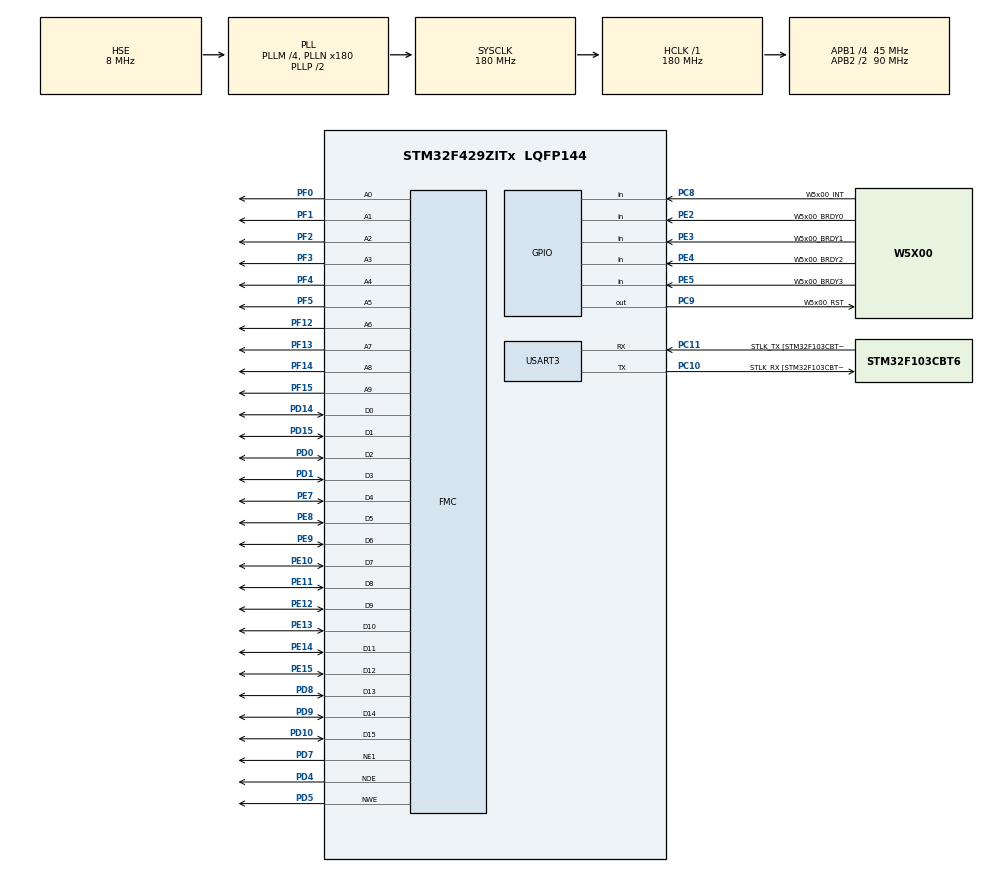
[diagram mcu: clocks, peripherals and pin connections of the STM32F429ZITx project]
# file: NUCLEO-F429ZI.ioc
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FMC.WriteOperation1=FMC_WRITE_OPERATION_ENABLE
Mcu.Family=STM32F4
Mcu.Name=STM32F429ZITx
Mcu.Package=LQFP144
NVIC.PriorityGroup=NVIC_PRIORITYGROUP_4
PA13.GPIO_Label=TMS
PA13.Mode=Serial_Wire
PA13.Signal=SYS_JTMS-SWDIO
PA14.GPIO_Label=TCK
PA14.Mode=Serial_Wire
PA14.Signal=SYS_JTCK-SWCLK
PC10.GPIO_Label=STLK_RX [STM32F103CBT6_PA3]
PC10.Mode=Asynchronous
PC10.Signal=USART3_TX
PC11.GPIO_Label=STLK_TX [STM32F103CBT6_PA2]
PC11.Mode=Asynchronous
PC11.Signal=USART3_RX
PC14/OSC32_IN.Mode=LSE-External-Oscillator
PC14/OSC32_IN.Signal=RCC_OSC32_IN
PC15/OSC32_OUT.Mode=LSE-External-Oscillator
PC15/OSC32_OUT.Signal=RCC_OSC32_OUT
PC8.GPIO_Label=W5x00_INT
PC8.Signal=GPIO_Input
PC9.GPIO_Label=W5x00_RST
PC9.GPIO_PuPd=GPIO_PULLUP
PC9.PinState=GPIO_PIN_SET
PC9.Signal=GPIO_Output
PD0.Signal=FMC_D2_DA2
PD1.Signal=FMC_D3_DA3
PD10.Signal=FMC_D15_DA15
PD14.Signal=FMC_D0_DA0
PD15.Signal=FMC_D1_DA1
PD4.Signal=FMC_NOE
PD5.Signal=FMC_NWE
PD7.Mode=NorPsramChipSelect1_1
PD7.Signal=FMC_NE1
PD8.Signal=FMC_D13_DA13
PD9.Signal=FMC_D14_DA14
PE10.Signal=FMC_D7_DA7
PE11.Signal=FMC_D8_DA8
PE12.Signal=FMC_D9_DA9
PE13.Signal=FMC_D10_DA10
PE14.Signal=FMC_D11_DA11
PE15.Signal=FMC_D12_DA12
PE2.GPIO_Label=W5x00_BRDY0
PE2.Signal=GPIO_Input
PE3.GPIO_Label=W5x00_BRDY1
PE3.Signal=GPIO_Input
PE4.GPIO_Label=W5x00_BRDY2
PE4.Signal=GPIO_Input
PE5.GPIO_Label=W5x00_BRDY3
PE5.Signal=GPIO_Input
PE7.Signal=FMC_D4_DA4
PE8.Signal=FMC_D5_DA5
PE9.Signal=FMC_D6_DA6
PF0.Signal=FMC_A0
PF1.Signal=FMC_A1
PF12.Signal=FMC_A6
PF13.Signal=FMC_A7
PF14.Signal=FMC_A8
PF15.Signal=FMC_A9
PF2.Signal=FMC_A2
PF3.Signal=FMC_A3
PF4.Signal=FMC_A4
PF5.Signal=FMC_A5
PH0/OSC_IN.GPIO_Label=MCO [STM32F103CBT6_PA8]
PH0/OSC_IN.Mode=HSE-External-Clock-Source
PH0/OSC_IN.Signal=RCC_OSC_IN
PH1/OSC_OUT.Mode=HSE-External-Clock-Source
PH1/OSC_OUT.Signal=RCC_OSC_OUT
ProjectManager.HeapSize=0x10000
ProjectManager.StackSize=0x8000
ProjectManager.TargetToolchain=STM32CubeIDE
RCC.48MHZClocksFreq_Value=51428571.428571425
RCC.AHBFreq_Value=180000000
RCC.APB1CLKDivider=RCC_HCLK_DIV4
RCC.APB1Freq_Value=45000000
RCC.APB1TimFreq_Value=90000000
RCC.APB2CLKDivider=RCC_HCLK_DIV2
RCC.APB2Freq_Value=90000000
RCC.APB2TimFreq_Value=180000000
RCC.CortexFreq_Value=180000000
RCC.HCLKFreq_Value=180000000
RCC.HSE_VALUE=8000000
RCC.HSI_VALUE=16000000
RCC.PLLM=4
RCC.PLLMUL=RCC_PLL_MUL9
RCC.PLLN=180
RCC.PLLQ=7
RCC.PLLSourceVirtual=RCC_PLLSOURCE_HSE
RCC.PRESCALERUSB=RCC_USBCLKSOURCE_PLL_DIV1_5
RCC.SYSCLKFreq_VALUE=180000000
RCC.SYSCLKSource=RCC_SYSCLKSOURCE_PLLCLK
RCC.SYSCLKSourceVirtual=RCC_SYSCLKSOURCE_PLLCLK
RCC.USBFreq_Value=48000000
RCC.VCOOutputFreq_Value=360000000
SH.FMC_A0.0=FMC_A0,10b-a1
SH.FMC_A1.0=FMC_A1,10b-a1
SH.FMC_A2.0=FMC_A2,10b-a1
SH.FMC_A3.0=FMC_A3,10b-a1
SH.FMC_A4.0=FMC_A4,10b-a1
SH.FMC_A5.0=FMC_A5,10b-a1
SH.FMC_A6.0=FMC_A6,10b-a1
SH.FMC_A7.0=FMC_A7,10b-a1
SH.FMC_A8.0=FMC_A8,10b-a1
SH.FMC_A9.0=FMC_A9,10b-a1
SH.FMC_D0_DA0.0=FMC_D0,16b-d1
SH.FMC_D10_DA10.0=FMC_D10,16b-d1
SH.FMC_D11_DA11.0=FMC_D11,16b-d1
SH.FMC_D12_DA12.0=FMC_D12,16b-d1
SH.FMC_D13_DA13.0=FMC_D13,16b-d1
SH.FMC_D14_DA14.0=FMC_D14,16b-d1
SH.FMC_D15_DA15.0=FMC_D15,16b-d1
SH.FMC_D1_DA1.0=FMC_D1,16b-d1
SH.FMC_D2_DA2.0=FMC_D2,16b-d1
SH.FMC_D3_DA3.0=FMC_D3,16b-d1
SH.FMC_D4_DA4.0=FMC_D4,16b-d1
SH.FMC_D5_DA5.0=FMC_D5,16b-d1
SH.FMC_D6_DA6.0=FMC_D6,16b-d1
SH.FMC_D7_DA7.0=FMC_D7,16b-d1
SH.FMC_D8_DA8.0=FMC_D8,16b-d1
SH.FMC_D9_DA9.0=FMC_D9,16b-d1
SH.FMC_NOE.0=FMC_NOE,Sram1
SH.FMC_NWE.0=FMC_NWE,Sram1
USART3.VirtualMode=VM_ASYNC
board=NUCLEO-F429ZI

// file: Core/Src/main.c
/* USER CODE BEGIN Header */
/**
  ******************************************************************************
  * @file           : main.c
  * @brief          : Main program body
  ******************************************************************************
  * @attention
  *
  * Copyright (c) 2023 STMicroelectronics.
  * All rights reserved.
  *
  * This software is licensed under terms that can be found in the LICENSE file
  * in the root directory of this software component.
  * If no LICENSE file comes with this software, it is provided AS-IS.
  *
  ******************************************************************************
  */
/* USER CODE END Header */
#include "main.h"

/* USER CODE BEGIN Includes */
#include <stdio.h>
#include "socket.h"
#include "wizchip_conf.h"
#include "w5x00_network.h"
/* USER CODE END Includes */

/* USER CODE BEGIN PD */
#define FWUP_SOCKET 0
#define FWUP_PORT   5000

#define DATA_BUF_SIZE 2048
#define APPLICATION_ADDR 0x08020000 //FLASH_SECTOR_5
#define DATA_END_TIME 3000 //3 sec
/* USER CODE END PD */

/* USER CODE BEGIN PM */
#ifdef __GNUC__
/* With GCC/RAISONANCE, small printf (option LD Linker->Libraries->Small printf set to 'Yes') calls __io_putchar() */
#define PUTCHAR_PROTOTYPE int __io_putchar(int ch)
#else
#define PUTCHAR_PROTOTYPE int fputc(int ch, FILE *f)
#endif /* __GNUC__ */
/* USER CODE END PM */

UART_HandleTypeDef huart3;

SRAM_HandleTypeDef hsram1;

/* USER CODE BEGIN PV */
wiz_NetInfo net_info =
  {
      .mac = {0x00, 0x08, 0xDC, 0x12, 0x34, 0x56}, // MAC address
      .ip = {192, 168, 2, 100},                     // IP address
      .sn = {255, 255, 255, 0},                    // Subnet Mask
      .gw = {192, 168, 2, 1},                     // Gateway
      .dns = {8, 8, 8, 8},                         // DNS server
#ifdef APP_DHCP
      .dhcp = NETINFO_DHCP                         // Dynamic IP
#else
      .dhcp = NETINFO_STATIC                       // Static IP
#endif
  };
uint8_t g_eth_buf[DATA_BUF_SIZE];

/* USER CODE END PV */

void SystemClock_Config(void);
static void MX_GPIO_Init(void);
static void MX_USART3_UART_Init(void);
static void MX_FMC_Init(void);
/* USER CODE BEGIN PFP */
/**
 * @brief  Retargets the C library printf function to the USART.
 * @param  None
 * @retval None
 */
PUTCHAR_PROTOTYPE
{
  /* Place your implementation of fputc here */
  /* e.g. write a character to the USART3 and Loop until the end of transmission */
  HAL_UART_Transmit(&huart3, (uint8_t *)&ch, 1, 0xFF);

  return ch;
}

void Flash_Erase_Sector(uint32_t sector);
void Flash_Write_Data(uint32_t writeAddr, uint8_t *data, uint32_t dataSize);
void DeinitializePeripherals(void);
void JumpToApplication(uint32_t appAddr);

/* USER CODE END PFP */

int main(void)
{
  /* USER CODE BEGIN 1 */
  uint16_t size;
  uint32_t writeAddr = APPLICATION_ADDR, start_time = 0, end_time = 0, total_size = 0;
  int ret;

  /* USER CODE END 1 */

  /* MCU Configuration--------------------------------------------------------*/

  /* Reset of all peripherals, Initializes the Flash interface and the Systick. */
  HAL_Init();

  /* Configure the system clock */
  SystemClock_Config();

  /* Initialize all configured peripherals */
  MX_GPIO_Init();
  MX_USART3_UART_Init();
  MX_FMC_Init();
  /* USER CODE BEGIN 2 */

  wizchip_network_initialize(&net_info);
  wizchip_network_information(&net_info);

  /* USER CODE END 2 */

  /* Infinite loop */
  while (1)
  {

    /* USER CODE BEGIN 3 */
    switch(getSn_SR(FWUP_SOCKET))
    {
      case SOCK_ESTABLISHED :
        if(getSn_IR(FWUP_SOCKET) & Sn_IR_CON)
        {
          uint8_t destip[4];
          uint16_t destport;

          getSn_DIPR(FWUP_SOCKET, destip);
          destport = getSn_DPORT(FWUP_SOCKET);
          printf("%d:Connected - %d.%d.%d.%d : %d\r\n",FWUP_SOCKET, destip[0], destip[1], destip[2], destip[3], destport);
          Flash_Erase_Sector(FLASH_SECTOR_5);
          printf("Flash_Erase_Sector(FLASH_SECTOR_5) complete\r\n");
          setSn_IR(FWUP_SOCKET,Sn_IR_CON);
        }
        if((size = getSn_RX_RSR(FWUP_SOCKET)) > 0)
        {
          if(size > DATA_BUF_SIZE) size = DATA_BUF_SIZE;
          memset(g_eth_buf, 0xFF, DATA_BUF_SIZE);
          ret = recv(FWUP_SOCKET, g_eth_buf, size);
          if(ret <= 0) break;
          size = (uint16_t) ret;
          printf("recv size = %d\r\n", size);

          Flash_Write_Data(writeAddr, g_eth_buf, size);
          writeAddr += size;
          total_size += size;
          start_time = HAL_GetTick();
          if (!start_time) start_time = 1;
        }

        if (start_time) {
          end_time = HAL_GetTick();
          if ((end_time - start_time) > DATA_END_TIME)
          {
            disconnect(FWUP_SOCKET);
            HAL_Delay(10);
            close(FWUP_SOCKET);
            printf("total_size = %d\r\n", total_size);
            printf("JumpToApplication to 0x%08X\r\n", APPLICATION_ADDR);
            HAL_Delay(1000);
            DeinitializePeripherals();
            JumpToApplication(APPLICATION_ADDR);
            while(1);
          }
        }
        break;

      case SOCK_CLOSE_WAIT :
        if((ret = disconnect(FWUP_SOCKET)) != SOCK_OK) break;
        printf("%d:Socket Closed\r\n", FWUP_SOCKET);
        break;

      case SOCK_INIT :
        if( (ret = listen(FWUP_SOCKET)) != SOCK_OK) break;
        printf("%d:Listen, TCP server loopback, port [%d]\r\n", FWUP_SOCKET, FWUP_PORT);
        break;

      case SOCK_CLOSED:
        if((ret = socket(FWUP_SOCKET, Sn_MR_TCP, FWUP_PORT, 0x00)) != FWUP_SOCKET) break;
          printf("%d:Socket opened\r\n",FWUP_SOCKET);
        break;

      default:
        break;
     }
  }
  /* USER CODE END 3 */
}

void SystemClock_Config(void)
{
  RCC_OscInitTypeDef RCC_OscInitStruct = {0};
  RCC_ClkInitTypeDef RCC_ClkInitStruct = {0};

  /** Configure the main internal regulator output voltage
  */
  __HAL_RCC_PWR_CLK_ENABLE();
  __HAL_PWR_VOLTAGESCALING_CONFIG(PWR_REGULATOR_VOLTAGE_SCALE1);

  /** Initializes the RCC Oscillators according to the specified parameters
  * in the RCC_OscInitTypeDef structure.
  */
  RCC_OscInitStruct.OscillatorType = RCC_OSCILLATORTYPE_HSE;
  RCC_OscInitStruct.HSEState = RCC_HSE_BYPASS;
  RCC_OscInitStruct.PLL.PLLState = RCC_PLL_ON;
  RCC_OscInitStruct.PLL.PLLSource = RCC_PLLSOURCE_HSE;
  RCC_OscInitStruct.PLL.PLLM = 4;
  RCC_OscInitStruct.PLL.PLLN = 180;
  RCC_OscInitStruct.PLL.PLLP = RCC_PLLP_DIV2;
  RCC_OscInitStruct.PLL.PLLQ = 7;
  if (HAL_RCC_OscConfig(&RCC_OscInitStruct) != HAL_OK)
  {
    Error_Handler();
  }

  /** Activate the Over-Drive mode
  */
  if (HAL_PWREx_EnableOverDrive() != HAL_OK)
  {
    Error_Handler();
  }

  /** Initializes the CPU, AHB and APB buses clocks
  */
  RCC_ClkInitStruct.ClockType = RCC_CLOCKTYPE_HCLK|RCC_CLOCKTYPE_SYSCLK
                              |RCC_CLOCKTYPE_PCLK1|RCC_CLOCKTYPE_PCLK2;
  RCC_ClkInitStruct.SYSCLKSource = RCC_SYSCLKSOURCE_PLLCLK;
  RCC_ClkInitStruct.AHBCLKDivider = RCC_SYSCLK_DIV1;
  RCC_ClkInitStruct.APB1CLKDivider = RCC_HCLK_DIV4;
  RCC_ClkInitStruct.APB2CLKDivider = RCC_HCLK_DIV2;

  if (HAL_RCC_ClockConfig(&RCC_ClkInitStruct, FLASH_LATENCY_5) != HAL_OK)
  {
    Error_Handler();
  }
}

static void MX_USART3_UART_Init(void)
{

  huart3.Instance = USART3;
  huart3.Init.BaudRate = 115200;
  huart3.Init.WordLength = UART_WORDLENGTH_8B;
  huart3.Init.StopBits = UART_STOPBITS_1;
  huart3.Init.Parity = UART_PARITY_NONE;
  huart3.Init.Mode = UART_MODE_TX_RX;
  huart3.Init.HwFlowCtl = UART_HWCONTROL_NONE;
  huart3.Init.OverSampling = UART_OVERSAMPLING_16;
  if (HAL_UART_Init(&huart3) != HAL_OK)
  {
    Error_Handler();
  }

}

/* FMC initialization function */
static void MX_FMC_Init(void)
{

  FMC_NORSRAM_TimingTypeDef Timing = {0};

  /** Perform the SRAM1 memory initialization sequence
  */
  hsram1.Instance = FMC_NORSRAM_DEVICE;
  hsram1.Extended = FMC_NORSRAM_EXTENDED_DEVICE;
  /* hsram1.Init */
  hsram1.Init.NSBank = FMC_NORSRAM_BANK1;
  hsram1.Init.DataAddressMux = FMC_DATA_ADDRESS_MUX_DISABLE;
  hsram1.Init.MemoryType = FMC_MEMORY_TYPE_SRAM;
  hsram1.Init.MemoryDataWidth = FMC_NORSRAM_MEM_BUS_WIDTH_16;
  hsram1.Init.BurstAccessMode = FMC_BURST_ACCESS_MODE_DISABLE;
  hsram1.Init.WaitSignalPolarity = FMC_WAIT_SIGNAL_POLARITY_LOW;
  hsram1.Init.WrapMode = FMC_WRAP_MODE_DISABLE;
  hsram1.Init.WaitSignalActive = FMC_WAIT_TIMING_BEFORE_WS;
  hsram1.Init.WriteOperation = FMC_WRITE_OPERATION_ENABLE;
  hsram1.Init.WaitSignal = FMC_WAIT_SIGNAL_DISABLE;
  hsram1.Init.ExtendedMode = FMC_EXTENDED_MODE_DISABLE;
  hsram1.Init.AsynchronousWait = FMC_ASYNCHRONOUS_WAIT_DISABLE;
  hsram1.Init.WriteBurst = FMC_WRITE_BURST_DISABLE;
  hsram1.Init.ContinuousClock = FMC_CONTINUOUS_CLOCK_SYNC_ONLY;
  hsram1.Init.PageSize = FMC_PAGE_SIZE_NONE;
  /* Timing */
  Timing.AddressSetupTime = 15;
  Timing.AddressHoldTime = 15;
  Timing.DataSetupTime = 255;
  Timing.BusTurnAroundDuration = 15;
  Timing.CLKDivision = 16;
  Timing.DataLatency = 17;
  Timing.AccessMode = FMC_ACCESS_MODE_A;
  /* ExtTiming */

  if (HAL_SRAM_Init(&hsram1, &Timing, NULL) != HAL_OK)
  {
    Error_Handler( );
  }

  /* USER CODE BEGIN FMC_Init 2 */
  // overwrite
  Timing.AddressSetupTime = 1;
  Timing.AddressHoldTime = 1;
  Timing.DataSetupTime = 6;
  Timing.BusTurnAroundDuration = 0;
  Timing.CLKDivision = 2;
  Timing.DataLatency = 2;
  Timing.AccessMode = FMC_ACCESS_MODE_A;

  if (HAL_SRAM_Init(&hsram1, &Timing, NULL) != HAL_OK)
  {
    Error_Handler();
  }
  /* USER CODE END FMC_Init 2 */
}

static void MX_GPIO_Init(void)
{
  GPIO_InitTypeDef GPIO_InitStruct = {0};

  /* GPIO Ports Clock Enable */
  __HAL_RCC_GPIOE_CLK_ENABLE();
  __HAL_RCC_GPIOC_CLK_ENABLE();
  __HAL_RCC_GPIOF_CLK_ENABLE();
  __HAL_RCC_GPIOH_CLK_ENABLE();
  __HAL_RCC_GPIOD_CLK_ENABLE();
  __HAL_RCC_GPIOA_CLK_ENABLE();

  /*Configure GPIO pin Output Level */
  HAL_GPIO_WritePin(W5x00_RST_GPIO_Port, W5x00_RST_Pin, GPIO_PIN_SET);

  /*Configure GPIO pins : W5x00_BRDY0_Pin W5x00_BRDY1_Pin W5x00_BRDY2_Pin W5x00_BRDY3_Pin */
  GPIO_InitStruct.Pin = W5x00_BRDY0_Pin|W5x00_BRDY1_Pin|W5x00_BRDY2_Pin|W5x00_BRDY3_Pin;
  GPIO_InitStruct.Mode = GPIO_MODE_INPUT;
  GPIO_InitStruct.Pull = GPIO_NOPULL;
  HAL_GPIO_Init(GPIOE, &GPIO_InitStruct);

  /*Configure GPIO pin : W5x00_INT_Pin */
  GPIO_InitStruct.Pin = W5x00_INT_Pin;
  GPIO_InitStruct.Mode = GPIO_MODE_INPUT;
  GPIO_InitStruct.Pull = GPIO_NOPULL;
  HAL_GPIO_Init(W5x00_INT_GPIO_Port, &GPIO_InitStruct);

  /*Configure GPIO pin : W5x00_RST_Pin */
  GPIO_InitStruct.Pin = W5x00_RST_Pin;
  GPIO_InitStruct.Mode = GPIO_MODE_OUTPUT_PP;
  GPIO_InitStruct.Pull = GPIO_PULLUP;
  GPIO_InitStruct.Speed = GPIO_SPEED_FREQ_LOW;
  HAL_GPIO_Init(W5x00_RST_GPIO_Port, &GPIO_InitStruct);

}

/* USER CODE BEGIN 4 */
void Flash_Erase_Sector(uint32_t sector)
{
    FLASH_EraseInitTypeDef eraseInitStruct;
    uint32_t SectorError;

    eraseInitStruct.TypeErase = FLASH_TYPEERASE_SECTORS;
    eraseInitStruct.VoltageRange = FLASH_VOLTAGE_RANGE_3;
    eraseInitStruct.Sector = sector;
    eraseInitStruct.NbSectors = 1;

    HAL_FLASH_Unlock();
    if (HAL_FLASHEx_Erase(&eraseInitStruct, &SectorError) != HAL_OK)
      printf("HAL_FLASHEx_Erase Error\r\n");
    HAL_FLASH_Lock();
}

void Flash_Write_Data(uint32_t writeAddr, uint8_t *data, uint32_t dataSize)
{
  HAL_FLASH_Unlock();
  for (uint32_t i = 0; i < dataSize; i ++)
  {
      if (HAL_FLASH_Program(FLASH_TYPEPROGRAM_BYTE, writeAddr + i, *(data+i) ) != HAL_OK)
      {
          printf("HAL_FLASH_Program Error addr = 0x%08X\r\n", writeAddr);
          break;
      }
  }
  HAL_FLASH_Lock();
}

void DeinitializePeripherals(void)
{
    for (int i = 0; i < 8; i++) {
        NVIC->ICER[i] = 0xFFFFFFFF;
        NVIC->ICPR[i] = 0xFFFFFFFF;
    }

    __HAL_RCC_GPIOA_FORCE_RESET();
    __HAL_RCC_GPIOB_FORCE_RESET();
    __HAL_RCC_GPIOC_FORCE_RESET();
    __HAL_RCC_GPIOD_FORCE_RESET();
    __HAL_RCC_GPIOE_FORCE_RESET();
    __HAL_RCC_GPIOF_FORCE_RESET();
    __HAL_RCC_GPIOG_FORCE_RESET();
    __HAL_RCC_GPIOH_FORCE_RESET();
    __HAL_RCC_GPIOI_FORCE_RESET();
    __HAL_RCC_GPIOA_RELEASE_RESET();
    __HAL_RCC_GPIOB_RELEASE_RESET();
    __HAL_RCC_GPIOC_RELEASE_RESET();
    __HAL_RCC_GPIOD_RELEASE_RESET();
    __HAL_RCC_GPIOE_RELEASE_RESET();
    __HAL_RCC_GPIOF_RELEASE_RESET();
    __HAL_RCC_GPIOG_RELEASE_RESET();
    __HAL_RCC_GPIOH_RELEASE_RESET();
    __HAL_RCC_GPIOI_RELEASE_RESET();

    HAL_DeInit();
}

void JumpToApplication(uint32_t appAddr)
{
    uint32_t appResetHandlerAddr;
    void (*AppJump)(void);

    SCB->VTOR = appAddr;
    __set_MSP((*(uint32_t *)appAddr));
    appResetHandlerAddr = (*((uint32_t *)((appAddr) + 4U)));
    AppJump = (void (*)(void))appResetHandlerAddr;

    AppJump();
}

/* USER CODE END 4 */

void Error_Handler(void)
{
  __disable_irq();
  while (1)
  {
  }
}
